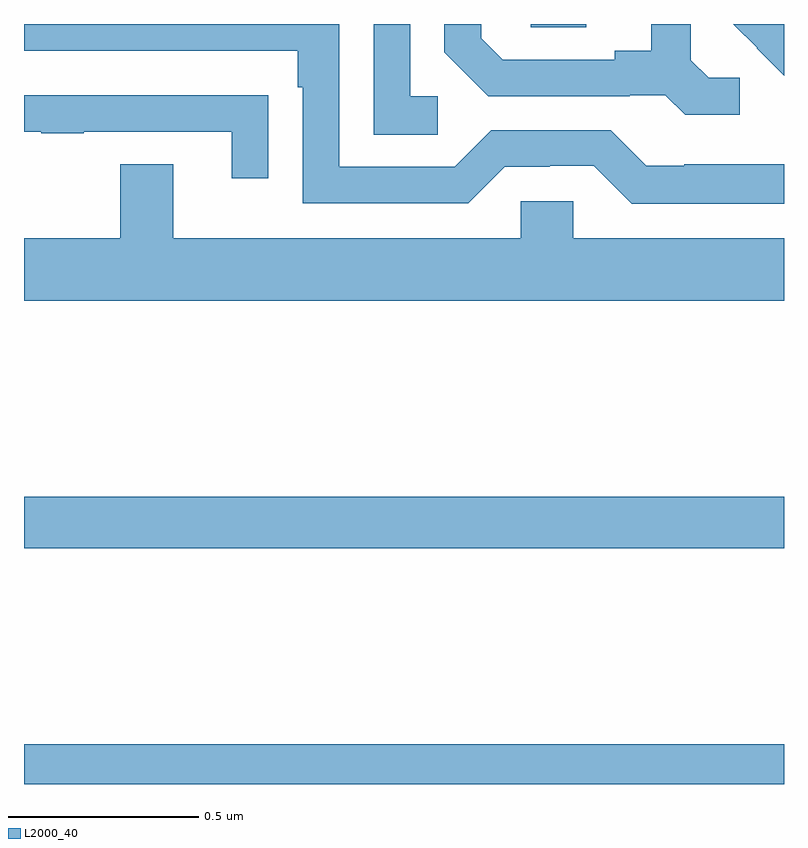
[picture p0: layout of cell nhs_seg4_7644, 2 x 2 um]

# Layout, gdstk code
import gdstk
lib = gdstk.Library(unit=1e-6, precision=1e-09)
def R(c, l, rs):  # rectangles x0, y0, x1, y1
    for r in rs: c.add(gdstk.rectangle(r[:2], r[2:], *l))
def P(c, l, *ps):  # polygons
    for p in ps: c.add(gdstk.Polygon(p, *l))
L2000_40 = (2000, 40)

nhs_seg4_7644 = lib.new_cell('nhs_seg4_7644')
R(nhs_seg4_7644, L2000_40, [(205,776.9,207,777.004), (205,777.52,207,777.656), (206.334,778.891,206.479,778.9)])
P(nhs_seg4_7644, L2000_40, [(206.089,778.71),(206.016,778.71),(206.016,778.9),(205.92,778.9),(205.92,778.609),(206.089,778.609)],
  [(207,778.531),(206.737,778.531),(206.737,778.527),(206.637,778.527),(206.544,778.62),(206.229,778.62),(206.133,778.524),(205.83,778.524),(205.83,778.9),(205,778.9),(205,778.83),(205.721,778.83),(205.721,778.733),(205.734,778.733),(205.734,778.428),(206.169,778.428),(206.265,778.524),(206.384,778.524),(206.384,778.527),(206.499,778.527),(206.599,778.427),(207,778.427)],
  [(207,778.9),(206.866,778.9),(206.929,778.837),(206.928,778.836),(207,778.764)],
  [(206.884,778.758),(206.802,778.758),(206.755,778.805),(206.755,778.9),(206.651,778.9),(206.651,778.829),(206.555,778.829),(206.555,778.806),(206.26,778.806),(206.203,778.863),(206.203,778.9),(206.106,778.9),(206.106,778.826),(206.222,778.71),(206.594,778.71),(206.594,778.713),(206.688,778.713),(206.74,778.661),(206.884,778.661)],
  [(205.643,778.712),(205.541,778.712),(205.541,778.713),(205,778.713),(205,778.617),(205.045,778.617),(205.045,778.612),(205.157,778.612),(205.157,778.617),(205.547,778.617),(205.547,778.494),(205.643,778.494)],
  [(207,778.336),(206.445,778.336),(206.445,778.434),(206.307,778.434),(206.307,778.336),(205.393,778.336),(205.393,778.531),(205.253,778.531),(205.253,778.336),(205,778.336),(205,778.172),(207,778.172)])

lib.write_gds('nhs_seg4_7644.gds')
